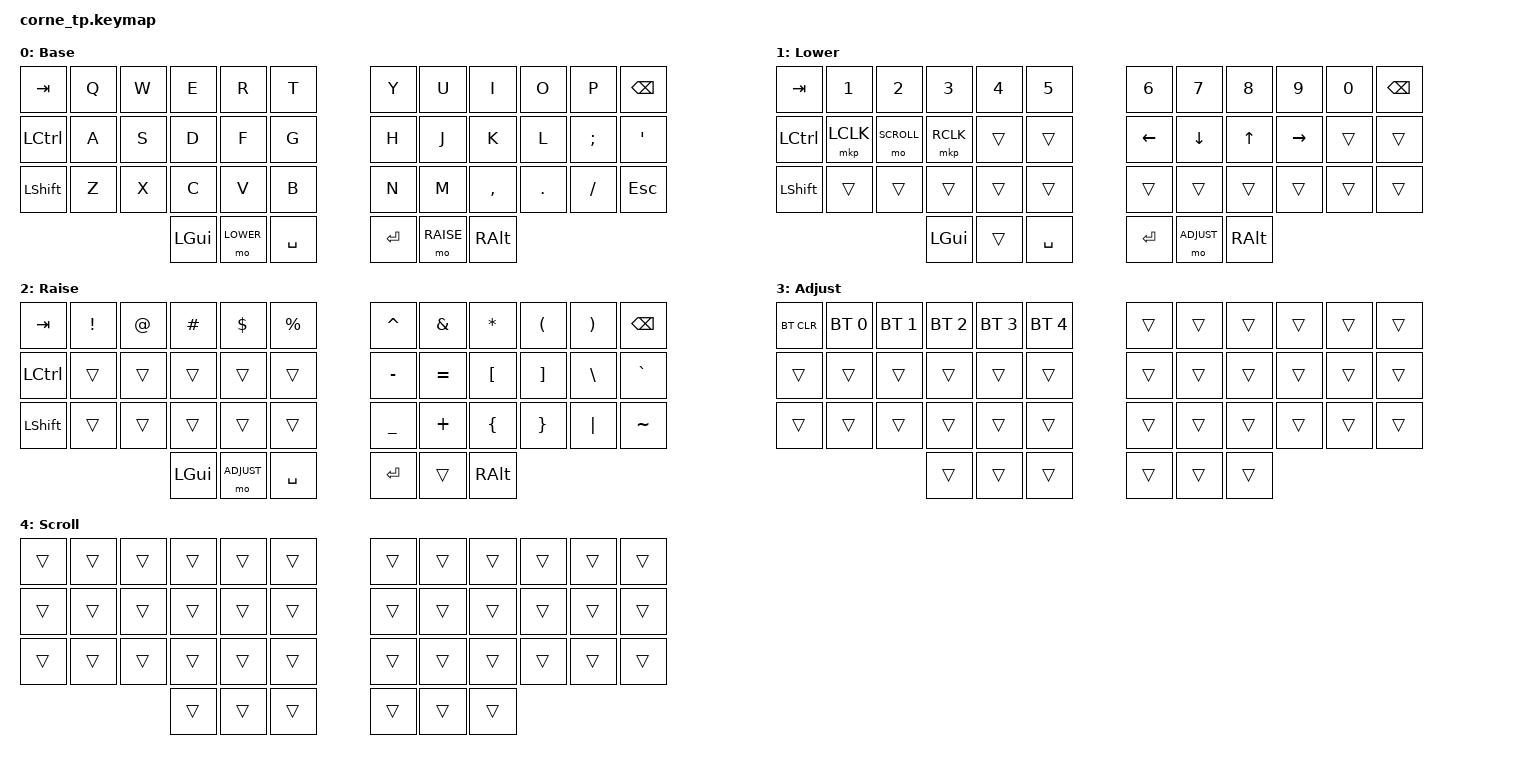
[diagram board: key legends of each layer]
/*
 * Corne Trackpoint Keymap
 */

#include <behaviors.dtsi>
#include <dt-bindings/zmk/keys.h>
#include <dt-bindings/zmk/bt.h>
#include <dt-bindings/zmk/outputs.h>
#include <dt-bindings/zmk/pointing.h>
#include <dt-bindings/zmk/input_transform.h>
#include <input/processors.dtsi>

/*
 * The TrackPoint driver's runtime-tuning behaviors (&mms, from
 * behaviors/mouse_setting.dtsi) are intentionally NOT included: behaviors
 * run on the central (left half), which has no PS/2 device, so they would do
 * nothing (and are not built there). Tune the TrackPoint via the tp-*
 * properties in boards/shields/corne_tp/corne_tp_right.overlay instead.
 */

// Layer definitions
#define DEFAULT 0
#define LOWER   1
#define RAISE   2
#define ADJUST  3
#define SCROLL  4

/ {
    keymap {
        compatible = "zmk,keymap";

        default_layer {
            display-name = "Base";
            bindings = <
                &kp TAB   &kp Q &kp W &kp E &kp R &kp T     &kp Y &kp U &kp I     &kp O   &kp P    &kp BSPC
                &kp LCTRL &kp A &kp S &kp D &kp F &kp G     &kp H &kp J &kp K     &kp L   &kp SEMI &kp SQT
                &kp LSHFT &kp Z &kp X &kp C &kp V &kp B     &kp N &kp M &kp COMMA &kp DOT &kp FSLH &kp ESC
                              &kp LGUI &mo LOWER &kp SPACE     &kp RET &mo RAISE &kp RALT
            >;
        };

        lower_layer {
            display-name = "Lower";
            bindings = <
                &kp TAB   &kp N1    &kp N2    &kp N3    &kp N4 &kp N5     &kp N6   &kp N7   &kp N8 &kp N9    &kp N0 &kp BSPC
                &kp LCTRL &mkp LCLK &mo SCROLL &mkp RCLK &trans &trans     &kp LEFT &kp DOWN &kp UP &kp RIGHT &trans &trans
                &kp LSHFT &trans    &trans    &trans    &trans &trans     &trans   &trans   &trans &trans    &trans &trans
                                    &kp LGUI &trans &kp SPACE     &kp RET &mo ADJUST &kp RALT
            >;
        };

        raise_layer {
            display-name = "Raise";
            bindings = <
                &kp TAB   &kp EXCL &kp AT &kp HASH &kp DLLR &kp PRCNT     &kp CARET &kp AMPS  &kp ASTRK &kp LPAR &kp RPAR &kp BSPC
                &kp LCTRL &trans   &trans &trans   &trans   &trans        &kp MINUS &kp EQUAL &kp LBKT  &kp RBKT &kp BSLH &kp GRAVE
                &kp LSHFT &trans   &trans &trans   &trans   &trans        &kp UNDER &kp PLUS  &kp LBRC  &kp RBRC &kp PIPE &kp TILDE
                                      &kp LGUI &mo ADJUST &kp SPACE     &kp RET &trans &kp RALT
            >;
        };

        adjust_layer {
            display-name = "Adjust";
            bindings = <
                &bt BT_CLR &bt BT_SEL 0 &bt BT_SEL 1 &bt BT_SEL 2 &bt BT_SEL 3 &bt BT_SEL 4     &trans &trans &trans &trans &trans &trans
                &trans     &trans       &trans       &trans       &trans       &trans           &trans &trans &trans &trans &trans &trans
                &trans     &trans       &trans       &trans       &trans       &trans           &trans &trans &trans &trans &trans &trans
                                                         &trans &trans &trans     &trans &trans &trans
            >;
        };

        // Active while the scroll key (Lower layer) is held: TrackPoint movement scrolls.
        scroll_layer {
            display-name = "Scroll";
            bindings = <
                &trans &trans &trans &trans &trans &trans     &trans &trans &trans &trans &trans &trans
                &trans &trans &trans &trans &trans &trans     &trans &trans &trans &trans &trans &trans
                &trans &trans &trans &trans &trans &trans     &trans &trans &trans &trans &trans &trans
                                     &trans &trans &trans     &trans &trans &trans
            >;
        };
    };
};

/*
 * While SCROLL is active, TrackPoint X/Y become horizontal/vertical scroll.
 * The listener lives on the central (left half); see corne_tp.dtsi.
 * Speed: raise the divisor in `zip_scroll_scaler 8 5` to scroll slower (smooth
 * scrolling is on, so one unit is 1/16 of a wheel notch).
 * Direction: remove INPUT_TRANSFORM_Y_INVERT to flip vertical scrolling.
 */
&trackpoint_listener {
    scroller {
        layers = <SCROLL>;
        input-processors = <&zip_xy_to_scroll_mapper>,
                           <&zip_scroll_scaler 8 5>,
                           <&zip_scroll_transform INPUT_TRANSFORM_Y_INVERT>;
    };
};
